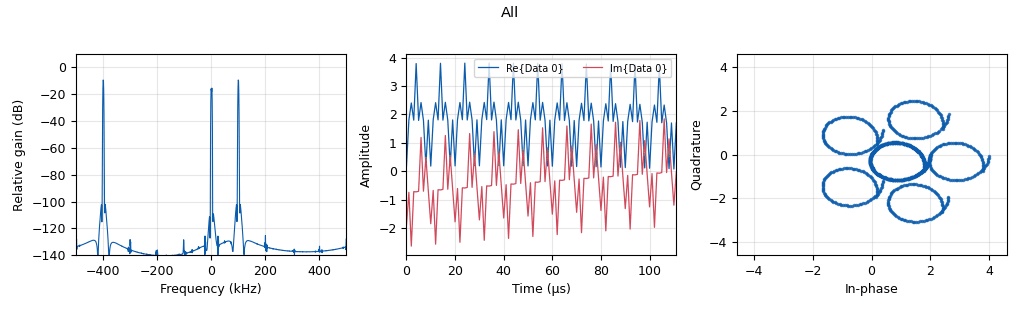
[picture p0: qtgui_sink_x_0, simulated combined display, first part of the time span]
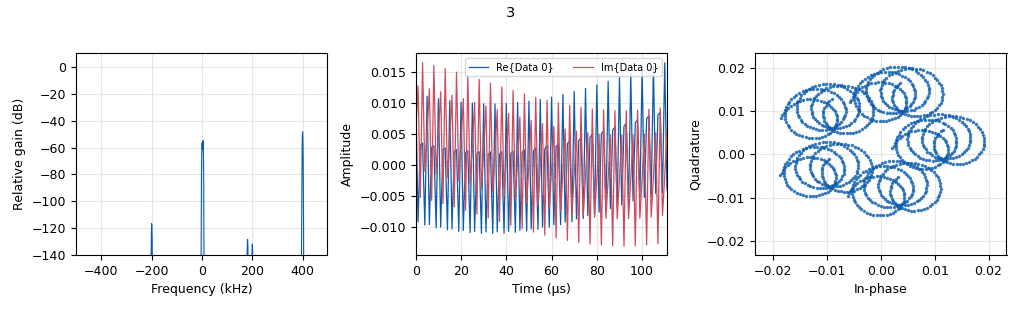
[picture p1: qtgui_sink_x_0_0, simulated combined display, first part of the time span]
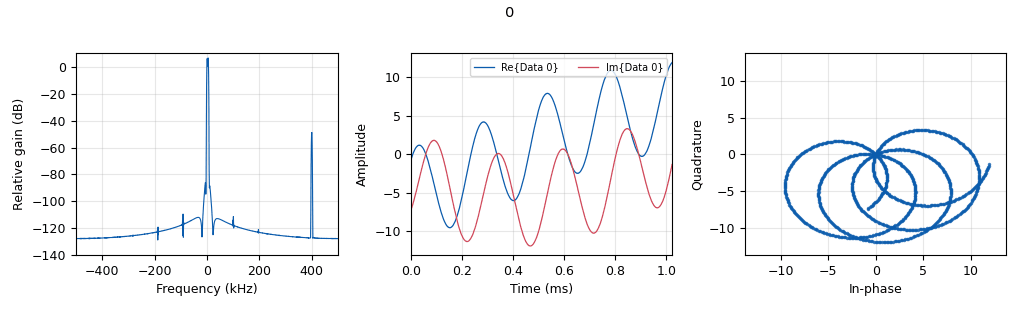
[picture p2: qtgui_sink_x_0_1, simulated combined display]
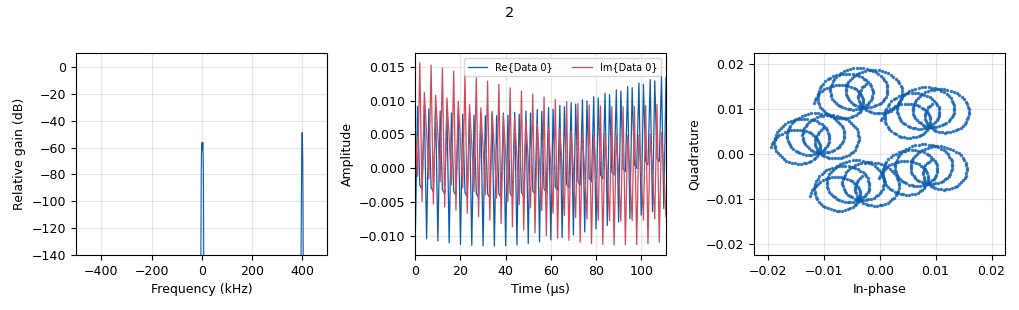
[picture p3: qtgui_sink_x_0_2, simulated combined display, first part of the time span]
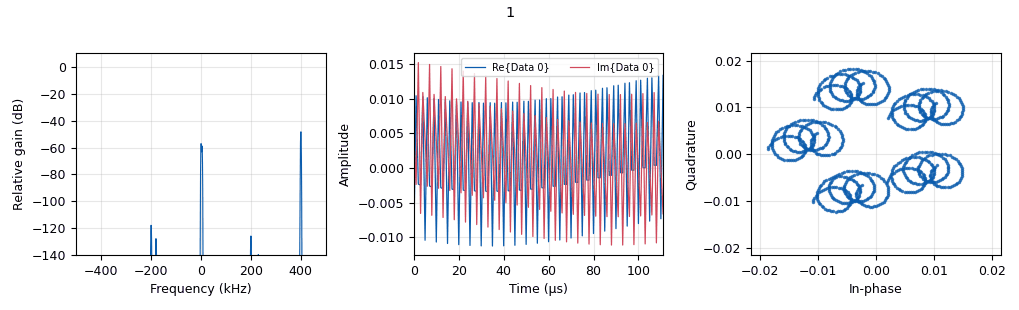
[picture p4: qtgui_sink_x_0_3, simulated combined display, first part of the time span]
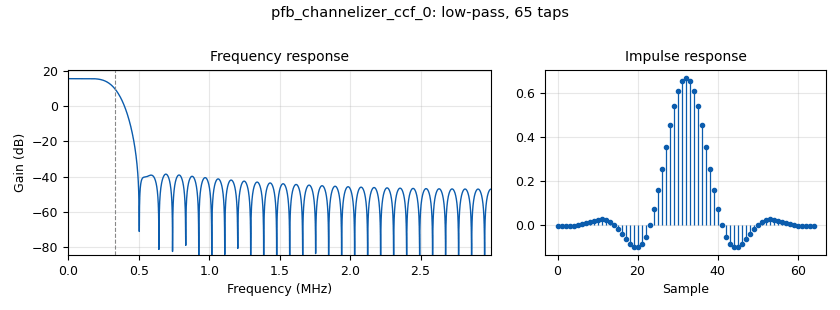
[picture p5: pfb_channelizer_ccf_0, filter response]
options:
  parameters:
    author: vivelpanel
    generate_options: qt_gui
    id: pfb_test
    output_language: python
    title: Not titled yet
  states: {}

blocks:
- name: samp_rate
  id: variable
  parameters:
    value: '1000000'
  states: {}
- name: analog_sig_source_x_0
  id: analog_sig_source_x
  parameters:
    amp: '1'
    freq: '600000'
    offset: '0'
    phase: '0'
    samp_rate: samp_rate
    type: complex
    waveform: analog.GR_COS_WAVE
  states: {}
- name: analog_sig_source_x_0_0
  id: analog_sig_source_x
  parameters:
    amp: '1'
    freq: '100'
    offset: '0'
    phase: '0'
    samp_rate: samp_rate
    type: complex
    waveform: analog.GR_COS_WAVE
  states: {}
- name: analog_sig_source_x_0_1
  id: analog_sig_source_x
  parameters:
    amp: '1'
    freq: '1000'
    offset: '0'
    phase: '0'
    samp_rate: samp_rate
    type: complex
    waveform: analog.GR_COS_WAVE
  states: {}
- name: analog_sig_source_x_0_2
  id: analog_sig_source_x
  parameters:
    amp: '1'
    freq: '100000'
    offset: '0'
    phase: '0'
    samp_rate: samp_rate
    type: complex
    waveform: analog.GR_COS_WAVE
  states: {}
- name: blocks_add_xx_0
  id: blocks_add_xx
  parameters:
    num_inputs: '4'
    type: complex
  states: {}
- name: blocks_throttle_0
  id: blocks_throttle
  parameters:
    samples_per_second: samp_rate
    type: complex
  states: {}
- name: pfb_channelizer_ccf_0
  id: pfb_channelizer_ccf
  parameters:
    atten: '1'
    bus_conns: '[[0,],]'
    ch_map: '[]'
    nchans: '4'
    osr: '1.0'
    taps: firdes.low_pass_2(6, 6*samp_rate, samp_rate/3.0, samp_rate/4.0, 60)
  states: {}
- name: qtgui_freq_sink_x_0
  id: qtgui_freq_sink_x
  parameters:
    bw: samp_rate
    fc: '0'
    fftsize: '1024'
    gui_hint: (1, 0)
    name: '"0"'
    type: complex
  states: {state: disabled}
- name: qtgui_freq_sink_x_1
  id: qtgui_freq_sink_x
  parameters:
    bw: samp_rate
    fc: '0'
    fftsize: '1024'
    gui_hint: (2, 0)
    name: '"1"'
    type: complex
  states: {state: disabled}
- name: qtgui_freq_sink_x_2
  id: qtgui_freq_sink_x
  parameters:
    bw: samp_rate
    fc: '0'
    fftsize: '1024'
    gui_hint: (3, 0)
    name: '"2"'
    type: complex
  states: {state: disabled}
- name: qtgui_freq_sink_x_3
  id: qtgui_freq_sink_x
  parameters:
    bw: samp_rate
    fc: '0'
    fftsize: '1024'
    gui_hint: (4, 0)
    name: '"3"'
    type: complex
  states: {state: disabled}
- name: qtgui_freq_sink_x_4
  id: qtgui_freq_sink_x
  parameters:
    bw: samp_rate
    fc: '0'
    fftsize: '1024'
    gui_hint: (0, 0)
    name: '"All"'
    type: complex
  states: {state: disabled}
- name: qtgui_sink_x_0
  id: qtgui_sink_x
  parameters:
    bw: samp_rate
    fc: '0'
    fftsize: '1024'
    gui_hint: (0,0,1,2)
    name: '"All"'
    type: complex
  states: {}
- name: qtgui_sink_x_0_0
  id: qtgui_sink_x
  parameters:
    bw: samp_rate
    fc: '0'
    fftsize: '1024'
    gui_hint: (2, 1)
    name: '"3"'
    type: complex
  states: {}
- name: qtgui_sink_x_0_1
  id: qtgui_sink_x
  parameters:
    bw: samp_rate
    fc: '0'
    fftsize: '1024'
    gui_hint: (1, 0)
    name: '"0"'
    type: complex
  states: {}
- name: qtgui_sink_x_0_2
  id: qtgui_sink_x
  parameters:
    bw: samp_rate
    fc: '0'
    fftsize: '1024'
    gui_hint: (2, 0)
    name: '"2"'
    type: complex
  states: {}
- name: qtgui_sink_x_0_3
  id: qtgui_sink_x
  parameters:
    bw: samp_rate
    fc: '0'
    fftsize: '1024'
    gui_hint: (1, 1)
    name: '"1"'
    type: complex
  states: {}
- name: qtgui_time_sink_x_0
  id: qtgui_time_sink_x
  parameters:
    gui_hint: (0, 1)
    name: '"All"'
    size: '1024'
    srate: samp_rate
    type: complex
  states: {state: disabled}
- name: qtgui_time_sink_x_0_0
  id: qtgui_time_sink_x
  parameters:
    gui_hint: (4, 1)
    size: '1024'
    srate: samp_rate
    type: complex
  states: {state: disabled}
- name: qtgui_time_sink_x_0_1
  id: qtgui_time_sink_x
  parameters:
    gui_hint: (3, 1)
    size: '1024'
    srate: samp_rate
    type: complex
  states: {state: disabled}
- name: qtgui_time_sink_x_0_2
  id: qtgui_time_sink_x
  parameters:
    gui_hint: (2, 1)
    size: '1024'
    srate: samp_rate
    type: complex
  states: {state: disabled}
- name: qtgui_time_sink_x_0_3
  id: qtgui_time_sink_x
  parameters:
    entags: 'False'
    gui_hint: (1, 1)
    size: '1024'
    srate: samp_rate
    type: complex
  states: {state: disabled}

connections:
- [analog_sig_source_x_0, '0', blocks_add_xx_0, '0']
- [analog_sig_source_x_0_0, '0', blocks_add_xx_0, '1']
- [analog_sig_source_x_0_1, '0', blocks_add_xx_0, '2']
- [analog_sig_source_x_0_2, '0', blocks_add_xx_0, '3']
- [blocks_add_xx_0, '0', blocks_throttle_0, '0']
- [blocks_add_xx_0, '0', qtgui_freq_sink_x_4, '0']
- [blocks_add_xx_0, '0', qtgui_time_sink_x_0, '0']
- [blocks_throttle_0, '0', pfb_channelizer_ccf_0, '0']
- [blocks_throttle_0, '0', qtgui_sink_x_0, '0']
- [pfb_channelizer_ccf_0, '0', qtgui_freq_sink_x_0, '0']
- [pfb_channelizer_ccf_0, '0', qtgui_sink_x_0_1, '0']
- [pfb_channelizer_ccf_0, '0', qtgui_time_sink_x_0_3, '0']
- [pfb_channelizer_ccf_0, '1', qtgui_freq_sink_x_1, '0']
- [pfb_channelizer_ccf_0, '1', qtgui_sink_x_0_3, '0']
- [pfb_channelizer_ccf_0, '1', qtgui_time_sink_x_0_2, '0']
- [pfb_channelizer_ccf_0, '2', qtgui_freq_sink_x_2, '0']
- [pfb_channelizer_ccf_0, '2', qtgui_sink_x_0_2, '0']
- [pfb_channelizer_ccf_0, '2', qtgui_time_sink_x_0_1, '0']
- [pfb_channelizer_ccf_0, '3', qtgui_freq_sink_x_3, '0']
- [pfb_channelizer_ccf_0, '3', qtgui_sink_x_0_0, '0']
- [pfb_channelizer_ccf_0, '3', qtgui_time_sink_x_0_0, '0']

metadata:
  file_format: 1
